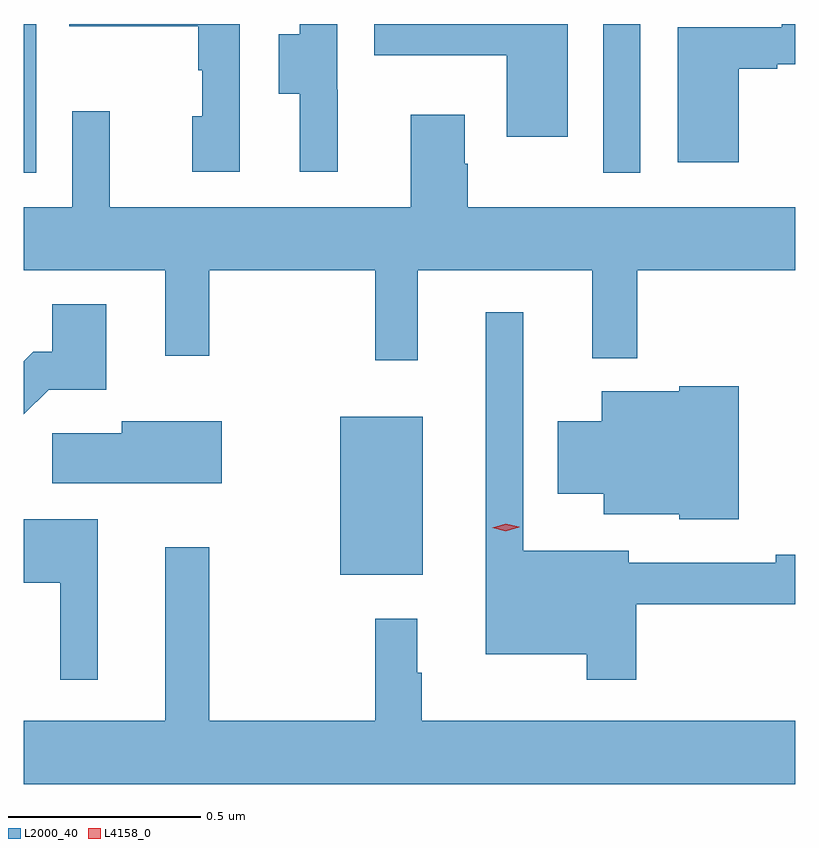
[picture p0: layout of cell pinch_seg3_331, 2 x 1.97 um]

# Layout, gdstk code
import gdstk
lib = gdstk.Library(unit=1e-6, precision=1e-09)
def R(c, l, rs):  # rectangles x0, y0, x1, y1
    for r in rs: c.add(gdstk.rectangle(r[:2], r[2:], *l))
def P(c, l, *ps):  # polygons
    for p in ps: c.add(gdstk.Polygon(p, *l))
L2000_40 = (2000, 40)
L4158_0 = (4158, 0)

pinch_seg3_331 = lib.new_cell('pinch_seg3_331')
R(pinch_seg3_331, L2000_40, [(999.854,720.107,1000.069,720.517), (999.034,721.149,999.066,721.535), (1000.536,721.149,1000.632,721.535)])
P(pinch_seg3_331, L2000_40, [(1000.888,721.419),(1000.988,721.419),(1000.988,721.431),(1001.034,721.431),(1001.034,721.535),(1000.999,721.535),(1000.999,721.527),(1000.73,721.527),(1000.73,721.176),(1000.888,721.176)],
  [(999.848,721.365),(999.846,721.365),(999.846,721.535),(999.75,721.535),(999.75,721.509),(999.695,721.509),(999.695,721.354),(999.749,721.354),(999.749,721.152),(999.848,721.152)],
  [(1000.444,721.535),(999.943,721.535),(999.943,721.454),(1000.286,721.454),(1000.286,721.242),(1000.444,721.242)],
  [(999.594,721.535),(999.151,721.535),(999.151,721.529),(999.486,721.529),(999.486,721.415),(999.496,721.415),(999.496,721.296),(999.47,721.296),(999.47,721.152),(999.594,721.152)],
  [(1000.055,720.896),(1000.508,720.896),(1000.508,720.668),(1000.625,720.668),(1000.625,720.896),(1001.034,720.896),(1001.034,721.06),(1000.185,721.06),(1000.185,721.172),(1000.177,721.172),(1000.177,721.3),(1000.037,721.3),(1000.037,721.06),(999.257,721.06),(999.257,721.309),(999.159,721.309),(999.159,721.06),(999.034,721.06),(999.034,720.896),(999.401,720.896),(999.401,720.675),(999.515,720.675),(999.515,720.896),(999.945,720.896),(999.945,720.663),(1000.055,720.663)],
  [(999.098,720.587),(999.247,720.587),(999.247,720.808),(999.107,720.808),(999.107,720.685),(999.058,720.685),(999.034,720.661),(999.034,720.523)],
  [(1000.622,720.03),(1001.034,720.03),(1001.034,720.158),(1000.984,720.158),(1000.984,720.138),(1000.603,720.138),(1000.603,720.169),(1000.329,720.169),(1000.329,720.787),(1000.232,720.787),(1000.232,719.9),(1000.494,719.9),(1000.494,719.835),(1000.622,719.835)],
  [(1000.888,720.595),(1000.734,720.595),(1000.734,720.583),(1000.532,720.583),(1000.532,720.505),(1000.418,720.505),(1000.418,720.317),(1000.538,720.317),(1000.538,720.263),(1000.734,720.263),(1000.734,720.251),(1000.888,720.251)],
  [(999.547,720.505),(999.288,720.505),(999.288,720.473),(999.108,720.473),(999.108,720.344),(999.547,720.344)],
  [(999.226,720.25),(999.034,720.25),(999.034,720.086),(999.128,720.086),(999.128,719.835),(999.226,719.835)],
  [(1001.034,719.728),(1000.066,719.728),(1000.066,719.852),(1000.054,719.852),(1000.054,719.992),(999.945,719.992),(999.945,719.728),(999.515,719.728),(999.515,720.178),(999.401,720.178),(999.401,719.728),(999.034,719.728),(999.034,719.564),(1001.034,719.564)])
P(pinch_seg3_331, L4158_0, [(1000.284,720.219),(1000.248,720.228),(1000.248,720.228),(1000.248,720.228),(1000.283,720.239),(1000.319,720.231),(1000.319,720.23),(1000.319,720.23)])

lib.write_gds('pinch_seg3_331.gds')
